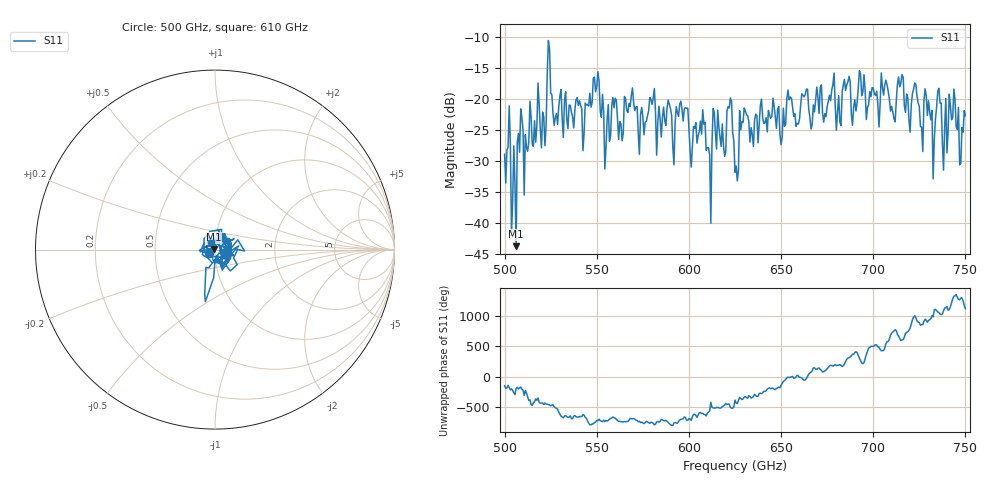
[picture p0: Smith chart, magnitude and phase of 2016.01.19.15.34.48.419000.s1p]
!Created with skrf (http://scikit-rf.org).
# GHz S RI R 50.0
!freq ReS11 ImS11
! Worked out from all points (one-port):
!   401 points, 500 GHz to 750 GHz, reference 50 ohm
!   lowest |S11| = -43.8 dB at 506.2 GHz (marker M1), VSWR 1.01, Z = 49.4 + j0.171 ohm
!   |S11| at or under -10 dB: start of sweep to end of sweep
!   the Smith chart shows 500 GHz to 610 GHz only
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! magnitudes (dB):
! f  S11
! 500 GHz  -29.0
! 501.9 GHz  -27.8
! 505 GHz  -27.6
! 506.2 GHz  -43.8
! 508.8 GHz  -21.6
! 521.2 GHz  -22.9
! 524.4 GHz  -11.9
! 527.5 GHz  -23.0
! 531.2 GHz  -23.3
! 543.8 GHz  -20.7
! 549.4 GHz  -18.9
! 555.6 GHz  -23.3
! 559.4 GHz  -21.5
! 562.5 GHz  -23.7
! 568.8 GHz  -19.5
! 593.8 GHz  -22.2
! 607.5 GHz  -21.8
! 610.6 GHz  -27.9
! 621.9 GHz  -21.5
! 625 GHz  -31.9
! 630.6 GHz  -22.0
! 656.2 GHz  -21.4
! 687.5 GHz  -17.2
! 705.6 GHz  -19.4
! 710.6 GHz  -22.2
! 715 GHz  -17.4
! 718.8 GHz  -19.8
! 750 GHz  -22.8
